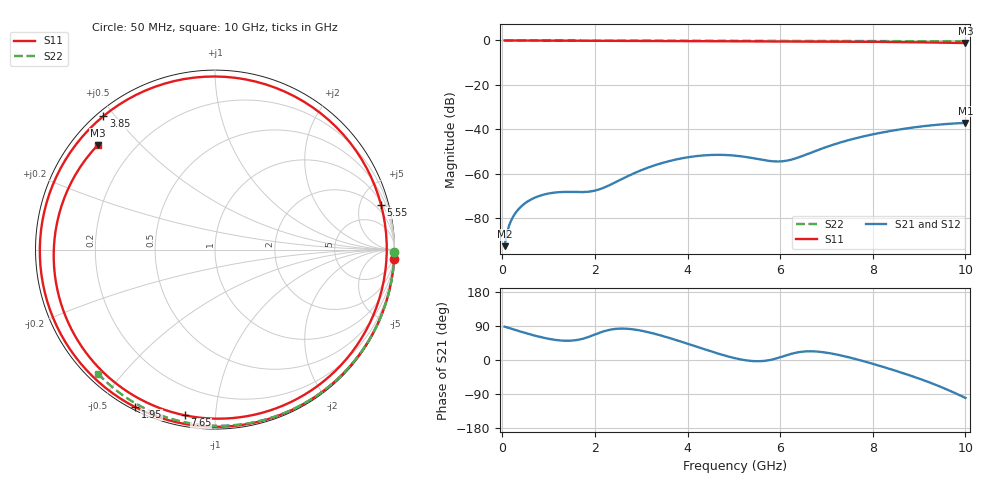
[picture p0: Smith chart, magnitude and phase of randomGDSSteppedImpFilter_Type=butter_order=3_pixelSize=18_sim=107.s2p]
! freq	dB(S11)	phase(S11)	dB(S12)	phase(S12)
!  dB(S21)	phase(S21)	dB(S22)	phase(S22)
!S-par simulation data
#  GHz  S  DB  R 50
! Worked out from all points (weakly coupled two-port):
!   200 points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, 50 MHz to 10 GHz, reference 50 ohm
!   highest |S21| = -37.08 dB at 10 GHz (marker M1); lowest = -92.5 dB at 50 MHz (marker M2)
!   lowest |S11| = -1.2 dB at 10 GHz (marker M3), VSWR 14.99, Z = 3.82 + j19 ohm
!   |S11| at or under -10 dB: nowhere
!   |S22| runs from -0.4 to 0.0 dB; largest |S21 - S12| = 0
!   S11 on the Smith chart (normalised r, x): 50 MHz: 0, -36; 1.95 GHz: 0.01, -0.61; 3.85 GHz: 0.02, +0.47; 5.55 GHz: 1.21, +7.35; 7.65 GHz: 0.05, -0.83; 10 GHz: 0.08, +0.38
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0.05  -0.00 -3.2  -92.51 88.1  -92.51 88.1  -0.00 -0.8
0.2  -0.02 -12.5  -80.56 82.3  -80.56 82.3  -0.00 -3.1
0.45  -0.04 -27.9  -73.89 73.0  -73.89 73.0  -0.01 -6.9
0.95  -0.07 -58.4  -69.03 57.2  -69.03 57.2  -0.02 -14.5
1.35  -0.10 -82.2  -68.12 50.8  -68.12 50.8  -0.03 -20.6
1.75  -0.13 -105.4  -68.16 56.5  -68.16 56.5  -0.03 -26.6
1.95  -0.14 -116.9  -67.74 64.9  -67.74 64.9  -0.04 -29.5
2.7  -0.19 -160.0  -61.12 82.4  -61.12 82.4  -0.05 -40.5
3.05  -0.21 179.5  -57.95 76.1  -57.95 76.1  -0.06 -45.6
3.4  -0.24 158.3  -55.43 65.6  -55.43 65.6  -0.07 -50.5
3.85  -0.27 130.0  -53.11 48.9  -53.11 48.9  -0.08 -56.9
4.45  -0.31 90.0  -51.55 25.0  -51.55 25.0  -0.09 -65.1
5.05  -0.35 48.7  -51.84 4.0  -51.84 4.0  -0.11 -73.1
5.55  -0.37 15.1  -53.44 -3.2  -53.44 -3.2  -0.13 -79.7
6.05  -0.39 -16.4  -54.33 9.2  -54.33 9.2  -0.15 -86.1
6.7  -0.44 -53.4  -50.20 22.9  -50.20 22.9  -0.18 -94.2
7.15  -0.48 -76.4  -46.85 16.2  -46.85 16.2  -0.21 -99.7
7.65  -0.55 -100.3  -43.88 1.9  -43.88 1.9  -0.24 -105.7
8.35  -0.68 -132.4  -40.83 -22.9  -40.83 -22.9  -0.29 -114.0
9.25  -0.91 -176.2  -38.20 -60.3  -38.20 -60.3  -0.37 -124.5
9.65  -1.04 161.1  -37.48 -80.3  -37.48 -80.3  -0.41 -129.1
10  -1.16 138.2  -37.08 -100.1  -37.08 -100.1  -0.45 -133.2
